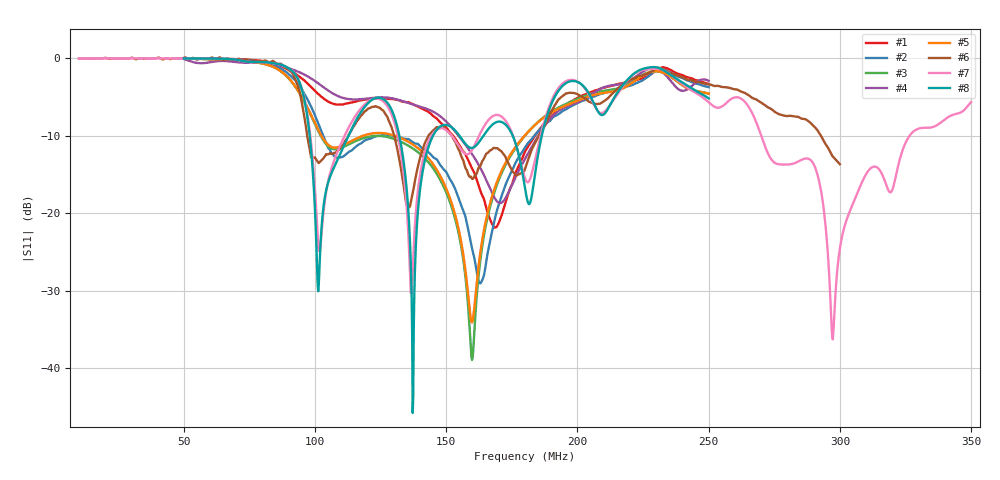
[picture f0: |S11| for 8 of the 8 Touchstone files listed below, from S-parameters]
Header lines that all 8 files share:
# MHZ S MA R 100
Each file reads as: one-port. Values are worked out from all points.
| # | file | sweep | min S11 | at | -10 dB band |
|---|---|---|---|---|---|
| 1 | Feed diff S11 - 50-250MHz - 100ohm - meas - para cables.s1p | 50 MHz to 250 MHz | -21.8 dB | 168.7 MHz | 31.11 MHz wide |
| 2 | Feed diff S11 - 50-250MHz - 100ohm - meas - perp cables.s1p | 50 MHz to 250 MHz | -29.0 dB | 162.9 MHz | 53.38 MHz wide |
| 3 | Feed diff S11 - 50-250MHz - 100ohm - simu - no cables.s1p | 50 MHz to 250 MHz | -38.9 dB | 159.8 MHz | 55.8 MHz wide |
| 4 | Feed diff S11 - 50-250MHz - 100ohm - simu - para cables.s1p | 50 MHz to 250 MHz | -18.7 dB | 170.6 MHz | 30.31 MHz wide |
| 5 | Feed diff S11 - 50-250MHz - 100ohm - simu - perp cables.s1p | 50 MHz to 250 MHz | -34.1 dB | 159.8 MHz | 49.23 MHz wide |
| 6 | HERA diff S11 - 10-300MHz - 100ohm - meas.s1p | 10 MHz to 300 MHz | -19.2 dB | 135.6 MHz | 33.07 MHz wide |
| 7 | HERA diff S11 - 10-350MHz - 100ohm - simu - 67Mc.s1p | 10 MHz to 350 MHz | -36.3 dB | 297.3 MHz | 56.48 MHz wide |
| 8 | HERA diff S11 - 50-250MHz - 100ohm - simu - 47Mc.s1p | 50 MHz to 250 MHz | -45.8 dB | 137.2 MHz | 14.79 MHz wide |
